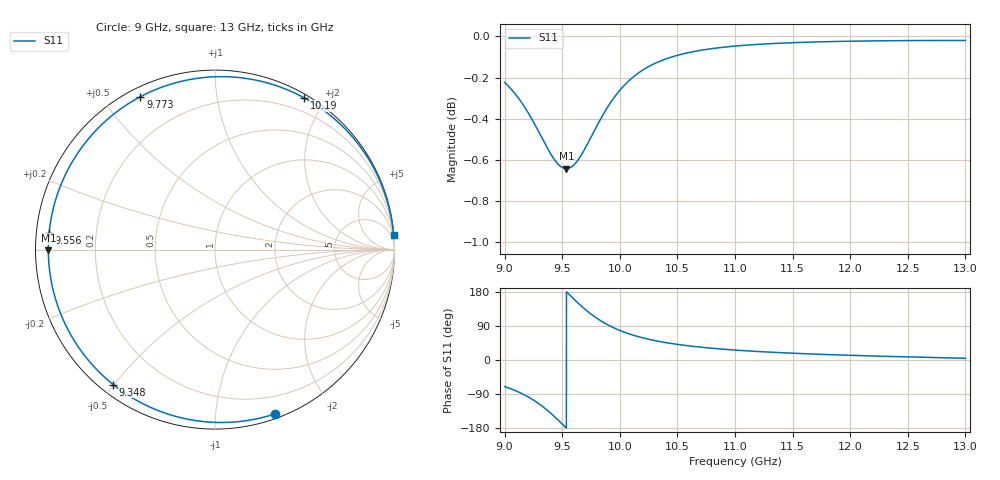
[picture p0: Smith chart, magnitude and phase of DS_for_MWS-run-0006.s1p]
! TOUCHSTONE file generated by CST DESIGN STUDIO
! Date and time: Tue Feb  4 13:08:12 2025
! Project name: C:\Work\MatlabApps\UnitCellOptimizationMatlab\CST\unitcell.cst
! Tree item: Tasks\Sweep1\SPara1\S-Parameters
! Header version: 2024
! Port assignment regex: !\s*Touchstone port\s*([0-9]+)\s*=\s*(CST MWS port|CST DES external port|CST DES block port)\s*(.+)\s* \(\"(.*)\"\)(\s*mode\s*([0-9]+))?.*
! Touchstone port assignment:
! Touchstone port 1 = CST DES external port 1 ("")
# GHz S MA R 50
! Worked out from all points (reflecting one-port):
!   4001 points, 9 GHz to 13 GHz, reference 50 ohm
!   lowest |S11| = -0.6 dB at 9.536 GHz (marker M1), VSWR 27.04, Z = 1.85 - j0.111 ohm
!   phase of S11 starts at -70 deg and turns -285 deg over the sweep
!   S11 on the Smith chart (normalised r, x): 9 GHz: 0.04, -1.43; 9.348 GHz: 0.04, -0.50; 9.556 GHz: 0.04, +0.05; 9.773 GHz: 0.04, +0.62; 10.19 GHz: 0.04, +1.75; 13 GHz: 1, +25
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9  0.9746 -70.0
9.097  0.9679 -81.3
9.205  0.9581 -97.5
9.28  0.9499 -111.7
9.348  0.942 -127.1
9.42  0.9344 -145.8
9.462  0.9311 -157.7
9.5  0.9293 -168.9
9.536  0.9287 -179.7
9.556  0.9289 174.2
9.61  0.9311 158.1
9.67  0.9362 141.3
9.721  0.9417 128.1
9.773  0.9479 116.0
9.821  0.9534 106.0
9.873  0.9591 96.5
9.931  0.9646 87.3
10  0.9703 78.0
10.089  0.9761 68.1
10.185  0.9808 59.6
10.329  0.9857 49.8
10.5  0.9895 41.2
10.721  0.9924 33.2
11  0.9946 26.2
11.5  0.9965 17.9
12  0.9973 12.4
12.5  0.9977 8.2
13  0.9977 4.6
